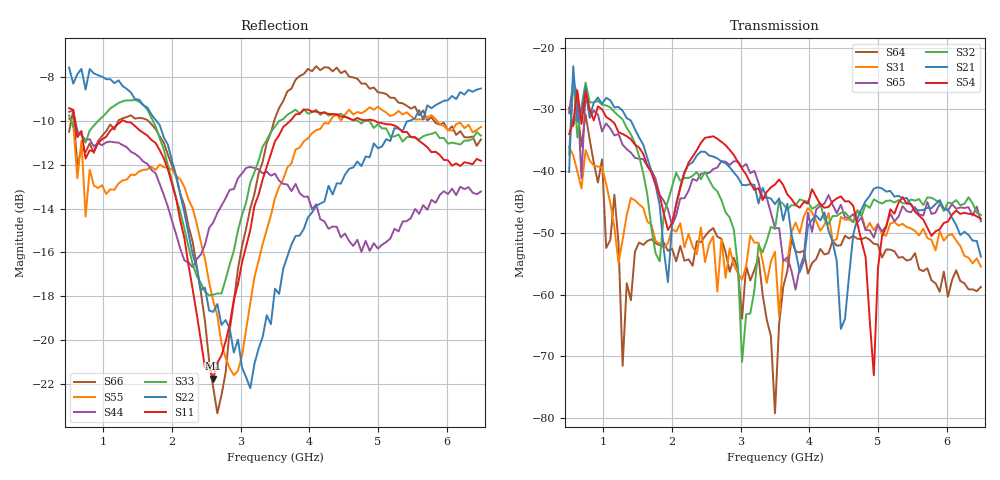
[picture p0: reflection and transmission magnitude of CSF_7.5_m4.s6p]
!Keysight Technologies,M9804A,MY58100912,A.14.10.03
!Date: Thursday, April 27, 2023 10:28:33
!Correction: S11(C  6-Port  )
!S12(C  6-Port  )
!S13(C  6-Port  )
!S14(C  6-Port  )
!S15(C  6-Port  )
!S16(C  6-Port  )
!S21(C  6-Port  )
!S22(C  6-Port  )
!S23(C  6-Port  )
!S24(C  6-Port  )
!S25(C  6-Port  )
!S26(C  6-Port  )
!S31(C  6-Port  )
!S32(C  6-Port  )
!S33(C  6-Port  )
!S34(C  6-Port  )
!S35(C  6-Port  )
!S36(C  6-Port  )
!S41(C  6-Port  )
!S42(C  6-Port  )
!S43(C  6-Port  )
!S44(C  6-Port  )
!S45(C  6-Port  )
!S46(C  6-Port  )
!S51(C  6-Port  )
!S52(C  6-Port  )
!S53(C  6-Port  )
!S54(C  6-Port  )
!S55(C  6-Port  )
!S56(C  6-Port  )
!S61(C  6-Port  )
!S62(C  6-Port  )
!S63(C  6-Port  )
!S64(C  6-Port  )
!S65(C  6-Port  )
!S66(C  6-Port  )
!S6P File: Measurement: :
# Hz S  RI  R 50
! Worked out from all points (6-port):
!   101 points, 500 MHz to 6.5 GHz, reference 50 ohm
!   strongest paths, dB at 500 MHz, 2 GHz, 3.5 GHz, 5 GHz, 6.5 GHz:
!     S54: -34.0, -48.4, -42.2, -55.8, -47.7
!     S21: -40.1, -48.8, -45.3, -42.6, -53.8
!     S32: -37.3, -42.5, -49.3, -45.0, -47.1
!     S65: -30.6, -48.7, -49.3, -48.7, -48.1
!     S31: -36.1, -49.4, -53.0, -48.5, -55.5
!     S64: -29.7, -52.5, -79.2, -51.9, -58.7
!   lowest |S11| = -21.7 dB at 2.6 GHz (marker M1), VSWR 1.18, Z = 42.7 + j1.97 ohm
!   |S11| at or under -10 dB: 584.3 MHz to 1.268 GHz (683.9 MHz wide, 73.8 % of centre); 1.302 GHz to 3.721 GHz (2.419 GHz wide, 96.3 % of centre); 4.954 GHz to end of sweep
